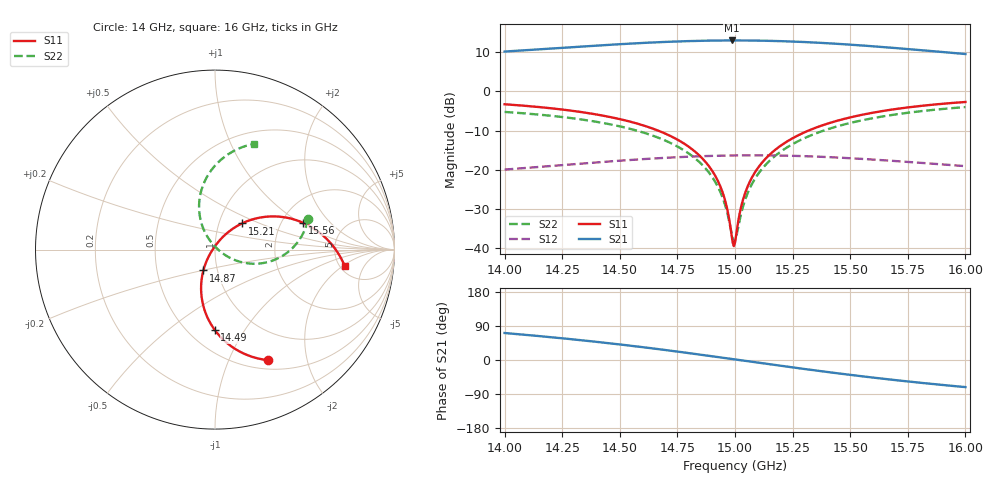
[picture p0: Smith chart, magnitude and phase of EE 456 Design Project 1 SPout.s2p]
! Created Thu Mar 20 00:44:31 2025
# hz S ma R 50
! 2 Port Network Data from SP1.SP block
! freq  magS11  angS11  magS21  angS21  magS12  angS12  magS22  angS22
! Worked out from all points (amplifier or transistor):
!   401 points, 14 GHz to 16 GHz, reference 50 ohm
!   highest |S21| = 12.9 dB at 14.98 GHz (marker M1)
!   |S21| within 3 dB of that: start of sweep to 15.91 GHz
!   unconditionally stable (mu >= 1): start of sweep to end of sweep
!   at 14.33 GHz: K = 1.10, MAG = 13.0 dB, |S12| = -18.4 dB
!   at 15 GHz: K = 1.08, MAG = 12.9 dB, |S12| = -16.3 dB
!   at 16 GHz: K = 1.04, MAG = 13.0 dB, |S12| = -19.1 dB
!   S11 on the Smith chart (normalised r, x): 14 GHz: 0.61, -1.40; 14.49 GHz: 0.66, -0.75; 14.87 GHz: 0.86, -0.20; 15.21 GHz: 1.29, +0.39; 15.56 GHz: 2.60, +1.06; 16 GHz: 5.49, -2.21
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1.4e10  0.6829 -64.4  3.198 71.2  0.1007 70.6  0.5454 17.9
1.418e10  0.6163 -72.8  3.464 61.4  0.1108 62.1  0.4943 9.7
1.4335e10  0.5421 -80.9  3.708 52.1  0.1203 53.9  0.4365 1.8
1.449e10  0.4485 -90.1  3.953 41.8  0.1301 44.7  0.3628 -7.0
1.458e10  0.3842 -96.0  4.087 35.3  0.1356 38.9  0.3117 -12.3
1.467e10  0.3123 -102.4  4.208 28.5  0.1407 32.8  0.2543 -17.9
1.478e10  0.2147 -111.1  4.328 19.8  0.1461 24.9  0.1759 -24.5
1.4865e10  0.1329 -119.2  4.391 12.8  0.1494 18.5  0.1099 -28.4
1.494e10  0.05779 -130.9  4.421 6.5  0.1514 12.7  0.04925 -26.3
1.4965e10  0.03285 -141.2  4.425 4.4  0.1519 10.8  0.02938 -18.2
1.4985e10  0.01488 -169.6  4.426 2.6  0.1522 9.2  0.01559 6.6
1.5e10  0.01188 119.1  4.426 1.4  0.1524 8.1  0.01236 58.0
1.5035e10  0.04186 68.7  4.424 -1.6  0.1528 5.3  0.03436 112.8
1.507e10  0.07631 59.4  4.416 -4.5  0.153 2.6  0.06304 119.7
1.5125e10  0.1309 51.9  4.392 -9.1  0.1528 -1.6  0.1091 120.2
1.5205e10  0.2093 44.1  4.333 -15.8  0.1518 -7.8  0.1757 116.5
1.5335e10  0.3299 33.5  4.181 -26.5  0.148 -17.6  0.2787 108.4
1.545e10  0.4262 25.0  4.002 -35.5  0.1431 -25.9  0.3616 100.8
1.5565e10  0.5109 17.2  3.795 -44.0  0.137 -33.7  0.4349 93.5
1.567e10  0.5777 10.5  3.595 -51.3  0.1309 -40.3  0.4931 87.2
1.582e10  0.6568 1.8  3.306 -61.0  0.1219 -49.1  0.5628 78.8
1.6e10  0.73 -7.4  2.976 -71.5  0.1114 -58.4  0.6283 69.7
